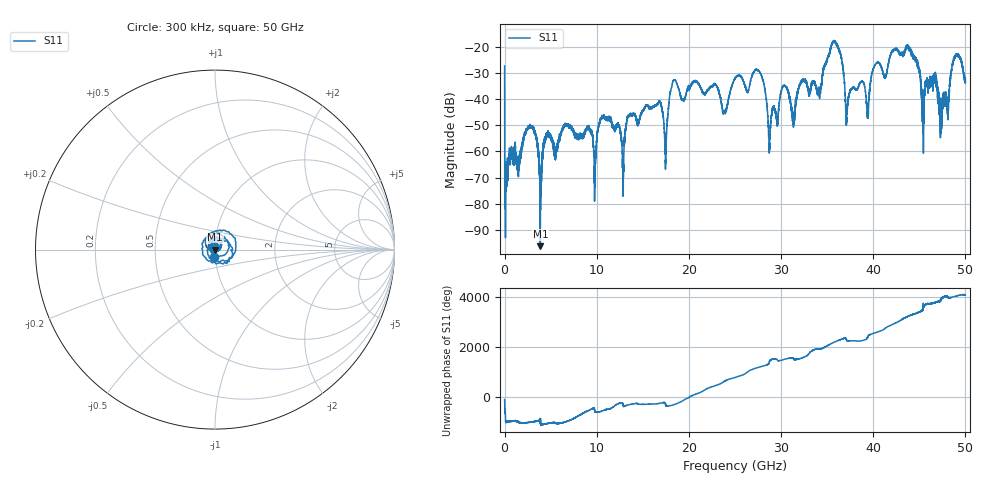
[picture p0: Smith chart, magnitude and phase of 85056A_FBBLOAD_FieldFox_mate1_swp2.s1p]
!Created with skrf (http://scikit-rf.org).
# Hz S RI R 50.0
!freq ReS11 ImS11
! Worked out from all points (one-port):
!   10001 points, 300 kHz to 50 GHz, reference 50 ohm
!   lowest |S11| = -96.1 dB at 3.875 GHz (marker M1), VSWR 1.00, Z = 50 + j0.00148 ohm
!   |S11| at or under -10 dB: start of sweep to end of sweep
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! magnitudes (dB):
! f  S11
! 300 kHz  -27.4
! 255.3 MHz  -72.1
! 2.805 GHz  -49.9
! 3.875 GHz  -96.1
! 6.25 GHz  -52.3
! 9.785 GHz  -73.8
! 12.5 GHz  -52.1
! 16.74 GHz  -41.4
! 17.47 GHz  -63.1
! 18.75 GHz  -34.8
! 23.87 GHz  -44.6
! 25 GHz  -32.1
! 27.64 GHz  -29.5
! 28.76 GHz  -59.1
! 30.31 GHz  -35.0
! 31.25 GHz  -47.0
! 32.28 GHz  -33.0
! 34.16 GHz  -37.1
! 35.72 GHz  -18.1
! 37.5 GHz  -36.8
! 39.39 GHz  -46.4
! 40.27 GHz  -26.7
! 43.75 GHz  -19.5
! 45.39 GHz  -51.2
! 46.64 GHz  -32.0
! 47.37 GHz  -41.9
! 49.03 GHz  -23.2
! 50 GHz  -32.2
